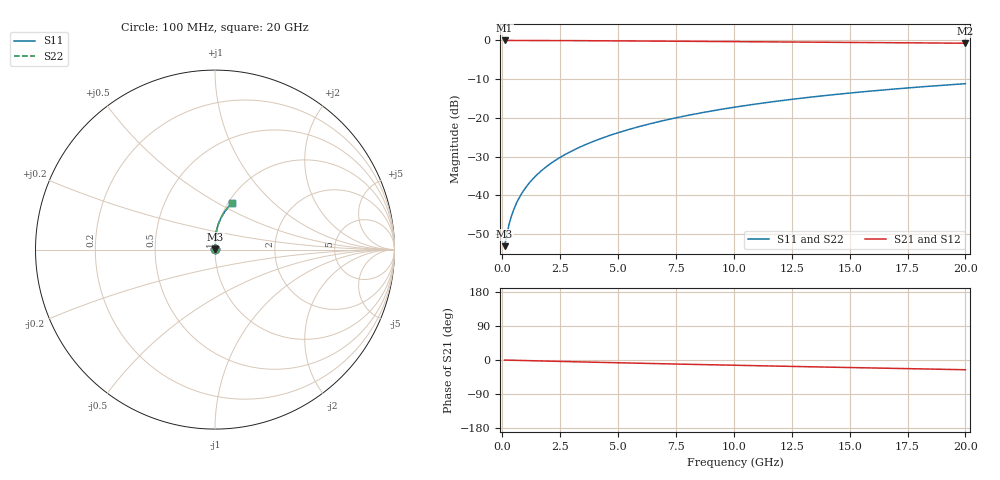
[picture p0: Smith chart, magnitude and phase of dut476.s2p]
! Touchstone file exported from HFSS 2024.1.0
!  File:  C:/UserFiles/LocalFiles/RDL_TSV_Batchsim/temp_RDL_top_476_1779678129.aedt
!  Generated:  11:04:37 AM May 25, 2026
!  Design:  RDL_top
!  Project:  temp_RDL_top_476_1779678129
!  Setup:  Setup1
!  Solution:  Sweep
! Variables:
!  dtsv = 10.80580581um
!  hbump = 3um
!  htsv = 58.63um
!  ldown = 100um
!  lrdl = 319.94um
!  p = 40
!  p1 = 56.26um
!  rhole = 1um
!  t = 450um
!  tdown = 3.915915916um
!  trdl = 3.16um
!  wdown = 15.38538539um
!  wrdl = 23.59um
# GHz S MA R 50.000000
! Terminal data exported
! Port[1] = Box2_T1
! Port[2] = Box2_T2
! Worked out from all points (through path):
!   200 points, 100 MHz to 20 GHz, reference 50 ohm
!   highest |S21| = -0.02 dB at 100 MHz (marker M1); lowest = -0.7 dB at 20 GHz (marker M2)
!   group delay of S21, straight-line fit = 3.53 ps
!   lowest |S11| = -53.1 dB at 100 MHz (marker M3), VSWR 1.00, Z = 50.2 + j0.133 ohm
!   |S11| at or under -10 dB: start of sweep to end of sweep
!   |S22| runs from -53.1 to -11.2 dB; largest |S21 - S12| = 3.2e-15
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0.1  0.002209 36.9  0.9982 -0.2  0.9982 -0.2  0.002209 36.9
! Gamma 0 0 0 0
! Port Impedance 50 0 50 0
0.2  0.003196 55.0  0.9981 -0.3  0.9981 -0.3  0.003196 55.0
0.3  0.004314 63.7  0.998 -0.5  0.998 -0.5  0.004314 63.7
0.4  0.005458 68.8  0.9979 -0.6  0.9979 -0.6  0.005458 68.8
0.5  0.006611 72.2  0.9978 -0.8  0.9978 -0.8  0.006611 72.2
0.6  0.007769 74.7  0.9977 -0.9  0.9977 -0.9  0.007769 74.6
0.8  0.01011 78.1  0.9975 -1.2  0.9975 -1.2  0.01011 78.1
1.1  0.01367 81.2  0.9971 -1.7  0.9971 -1.7  0.01367 81.2
1.5  0.0185 83.7  0.9965 -2.3  0.9965 -2.3  0.0185 83.7
1.8  0.02217 84.9  0.996 -2.7  0.996 -2.7  0.02217 84.9
2.1  0.0259 85.7  0.9953 -3.2  0.9953 -3.2  0.0259 85.7
2.7  0.03349 86.8  0.9939 -4.1  0.9939 -4.1  0.03349 86.8
3.5  0.04391 87.6  0.9915 -5.2  0.9915 -5.2  0.04391 87.6
4.2  0.0533 87.8  0.9891 -6.2  0.9891 -6.2  0.0533 87.8
5  0.06432 87.7  0.9861 -7.3  0.9861 -7.3  0.06432 87.7
5.9  0.07703 87.3  0.9824 -8.6  0.9824 -8.6  0.07702 87.3
6.8  0.08999 86.6  0.9786 -9.8  0.9786 -9.8  0.08998 86.6
8.4  0.1134 85.0  0.9717 -11.8  0.9717 -11.8  0.1134 85.0
10.1  0.1385 82.9  0.9643 -14.0  0.9643 -14.0  0.1384 82.9
13.4  0.1864 78.6  0.9496 -18.0  0.9496 -18.0  0.1864 78.6
16.7  0.2326 74.2  0.9346 -21.9  0.9346 -21.9  0.2325 74.2
20  0.2762 69.9  0.9191 -25.7  0.9191 -25.7  0.2762 69.9
